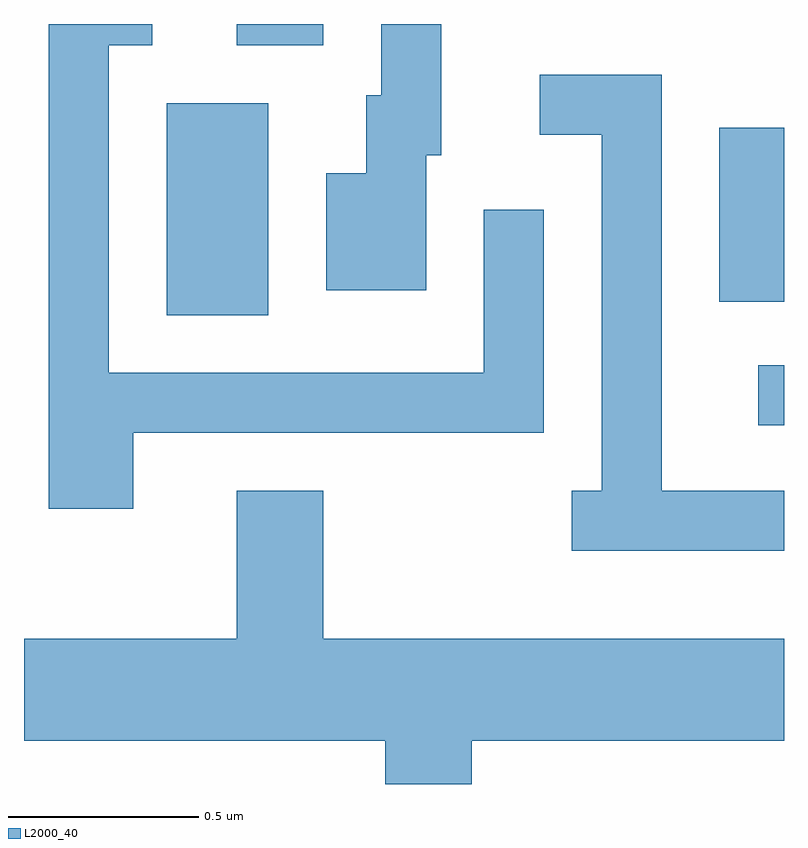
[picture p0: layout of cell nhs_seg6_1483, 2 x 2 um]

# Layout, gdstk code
import gdstk
lib = gdstk.Library(unit=1e-6, precision=1e-09)
def R(c, l, rs):  # rectangles x0, y0, x1, y1
    for r in rs: c.add(gdstk.rectangle(r[:2], r[2:], *l))
def P(c, l, *ps):  # polygons
    for p in ps: c.add(gdstk.Polygon(p, *l))
L2000_40 = (2000, 40)

nhs_seg6_1483 = lib.new_cell('nhs_seg6_1483')
R(nhs_seg6_1483, L2000_40, [(197.543,1644.106,197.611,1644.264), (195.986,1644.396,196.254,1644.954), (197.441,1644.431,197.611,1644.889), (196.171,1645.106,196.399,1645.162)])
P(nhs_seg6_1483, L2000_40, [(195.899,1644.086),(196.979,1644.086),(196.979,1644.673),(196.821,1644.673),(196.821,1644.244),(195.834,1644.244),(195.834,1645.106),(195.948,1645.106),(195.948,1645.162),(195.676,1645.162),(195.676,1643.886),(195.899,1643.886)],
  [(196.669,1644.816),(196.709,1644.816),(196.709,1645.162),(196.551,1645.162),(196.551,1644.974),(196.511,1644.974),(196.511,1644.769),(196.406,1644.769),(196.406,1644.461),(196.669,1644.461)],
  [(197.611,1643.934),(197.289,1643.934),(197.289,1645.029),(196.968,1645.029),(196.968,1644.871),(197.131,1644.871),(197.131,1643.934),(197.053,1643.934),(197.053,1643.776),(197.611,1643.776)],
  [(196.789,1643.276),(197.611,1643.276),(197.611,1643.544),(196.399,1643.544),(196.399,1643.934),(196.171,1643.934),(196.171,1643.544),(195.611,1643.544),(195.611,1643.276),(196.561,1643.276),(196.561,1643.162),(196.789,1643.162)])

lib.write_gds('nhs_seg6_1483.gds')
